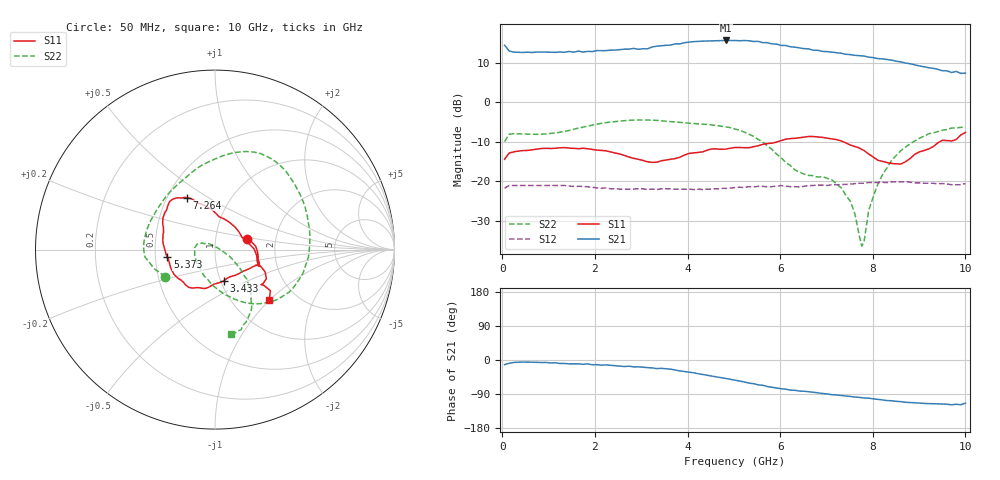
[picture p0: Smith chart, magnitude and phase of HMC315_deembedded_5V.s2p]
!Hittite Microwave Corporation
!12 Elizabeth Drive
!Chelmsford, MA 01824
!Tel: 978-250-3343
!Fax: 978-250-3373
!Device: HMC315, DC-7 GHz HBT Darlington Amplifier
!Misc:  Vcc=5V Icc=29.81mA , DEEMBEDDED TO THE PINS OF THE DEVICE
# MHZ S MA R 50
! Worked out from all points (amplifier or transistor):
!   201 points, 50 MHz to 10 GHz, reference 50 ohm
!   highest |S21| = 15.6 dB at 4.826 GHz (marker M1)
!   |S21| within 3 dB of that: 1.158 GHz to 7.14 GHz (5.981 GHz wide, 144 % of centre)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
!   unconditionally stable (mu >= 1): start of sweep to 2.051 GHz; 3.591 GHz to end of sweep
!   at 1.692 GHz: K = 1.08, MAG = 15.3 dB, |S12| = -21.3 dB
!   at 5.025 GHz: K = 1.04, MAG = 17.4 dB, |S12| = -21.6 dB
!   at 10 GHz: K = 1.77, MAG = 8.9 dB, |S12| = -20.6 dB
!   S11 on the Smith chart (normalised r, x): 50 MHz: 1.42, +0.18; 3.433 GHz: 1.03, -0.37; 5.373 GHz: 0.58, -0.05; 7.264 GHz: 0.63, +0.41; 10 GHz: 1.46, -0.99
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50  0.189 18.9  5.251 -12.1  0.081 7.8  0.316 -151.4
149.5  0.227 4.9  4.434 -8.6  0.088 5.9  0.392 -173.9
249  0.235 -1.4  4.306 -6.4  0.088 6.3  0.399 177.2
1741.5  0.261 -19.2  4.308 -11.4  0.085 32.6  0.484 96.1
2836  0.194 -39.1  4.797 -18.1  0.079 57.1  0.593 63.1
3134.5  0.176 -57.5  4.74 -20.5  0.079 65.0  0.594 54.1
3383.25  0.177 -71.3  5.146 -22.3  0.079 69.9  0.584 45.6
3433  0.181 -74.6  5.171 -22.0  0.08 71.0  0.581 43.7
4129.5  0.228 -109.9  5.845 -33.7  0.078 87.5  0.537 11.0
4826  0.254 -138.2  6.049 -48.7  0.081 105.2  0.487 -24.9
5025  0.267 -149.3  6.041 -53.2  0.083 109.8  0.457 -34.7
5373.25  0.268 -171.0  5.932 -61.6  0.085 116.9  0.382 -52.3
5721.5  0.299 166.1  5.671 -69.9  0.085 123.0  0.28 -71.6
6219  0.346 144.2  5.039 -79.5  0.085 134.2  0.158 -113.4
6716.5  0.367 130.5  4.548 -85.0  0.088 142.6  0.117 -166.0
7263.75  0.33 118.6  4.201 -92.8  0.09 153.4  0.087 156.7
7562.25  0.281 111.1  3.962 -97.0  0.092 158.2  0.047 136.7
7761.25  0.253 103.4  3.861 -99.4  0.094 161.3  0.015 72.8
7960.25  0.211 91.2  3.695 -101.6  0.096 164.3  0.052 -16.6
8358.25  0.169 55.5  3.435 -107.3  0.097 168.0  0.165 -36.2
9701.5  0.322 -37.3  2.377 -118.3  0.09 -174.1  0.47 -72.0
10000  0.413 -43.1  2.332 -113.8  0.093 -172.3  0.48 -79.3
